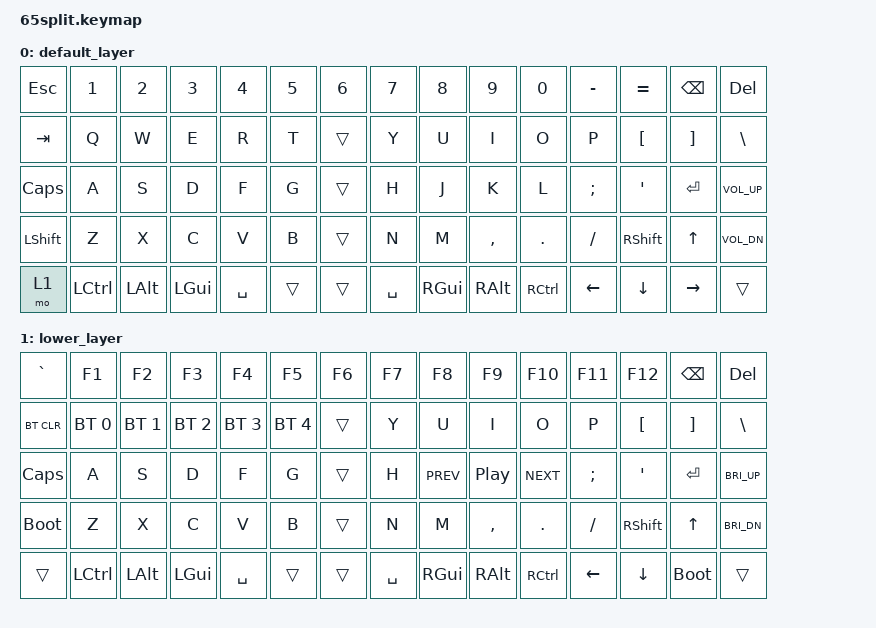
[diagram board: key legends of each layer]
#include <behaviors.dtsi>
#include <dt-bindings/zmk/keys.h>
#include <dt-bindings/zmk/bt.h>

/ {
    keymap {
        compatible = "zmk,keymap";

        default_layer { // Layer 0
            bindings = <
                &kp ESC      &kp N1  &kp N2  &kp N3  &kp N4  &kp N5  &kp N6     &kp N7  &kp N8  &kp N9      &kp N0    &kp MINUS  &kp EQUAL     &kp BSPC   &kp DEL
                &kp TAB      &kp Q   &kp W   &kp E   &kp R   &kp T   &trans     &kp Y   &kp U   &kp I       &kp O     &kp P      &kp LBKT      &kp RBKT   &kp BSLH 
                &kp CAPS     &kp A   &kp S   &kp D   &kp F   &kp G   &trans     &kp H   &kp J   &kp K       &kp L     &kp SEMI   &kp SQT       &kp RET    &kp C_VOL_UP
                &kp LSHFT    &kp Z   &kp X   &kp C   &kp V   &kp B   &trans     &kp N   &kp M   &kp COMMA   &kp DOT   &kp FSLH   &kp RSHFT     &kp UP     &kp C_VOL_DN
                &mo 1        &kp LCTRL   &kp LALT    &kp LGUI   &kp SPACE &trans &trans   &kp SPACE   &kp RGUI   &kp RALT   &kp RCTRL  &kp LEFT   &kp DOWN   &kp RIGHT   &trans
            >;
        };

        lower_layer { // Layer 1
            bindings = <
                &kp GRAVE  &kp F1  &kp F2  &kp F3  &kp F4  &kp F5  &kp F6     &kp F7  &kp F8  &kp F9      &kp F10    &kp F11  &kp F12     &kp BSPC   &kp DEL
                &bt BT_CLR     &bt BT_SEL 0   &bt BT_SEL 1   &bt BT_SEL 2   &bt BT_SEL 3   &bt BT_SEL 4   &trans     &kp Y   &kp U   &kp I       &kp O     &kp P      &kp LBKT      &kp RBKT   &kp BSLH 
                &kp CAPS     &kp A   &kp S   &kp D   &kp F   &kp G   &trans     &kp H   &kp C_PREV   &kp C_PP       &kp C_NEXT     &kp SEMI   &kp SQT       &kp RET    &kp C_BRI_UP
                &bootloader  &kp Z   &kp X   &kp C   &kp V   &kp B   &trans     &kp N   &kp M   &kp COMMA   &kp DOT   &kp FSLH   &kp RSHFT     &kp UP     &kp C_BRI_DN
                &trans       &kp LCTRL   &kp LALT    &kp LGUI   &kp SPACE &trans &trans   &kp SPACE   &kp RGUI   &kp RALT   &kp RCTRL  &kp LEFT   &kp DOWN   &bootloader   &trans
            >;
        };
    };
 };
